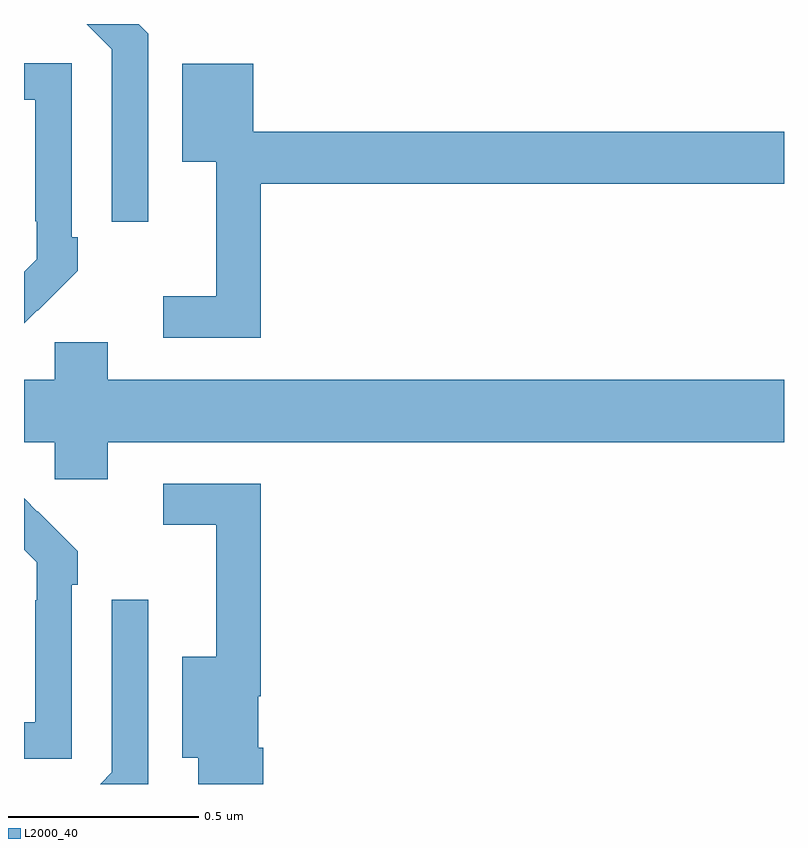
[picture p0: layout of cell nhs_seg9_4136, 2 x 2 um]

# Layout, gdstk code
import gdstk
lib = gdstk.Library(unit=1e-6, precision=1e-09)
def P(c, l, *ps):  # polygons
    for p in ps: c.add(gdstk.Polygon(p, *l))
L2000_40 = (2000, 40)

nhs_seg9_4136 = lib.new_cell('nhs_seg9_4136')
P(nhs_seg9_4136, L2000_40, [(162.327,1217.475),(162.302,1217.5),(162,1217.5),(162,1217.499),(162.165,1217.499),(162.231,1217.433),(162.231,1216.98),(162.327,1216.98)],
  [(162.035,1216.747),(162.036,1216.746),(162.141,1216.851),(162.141,1216.939),(162.126,1216.939),(162.126,1217.397),(162,1217.397),(162,1217.301),(162.03,1217.301),(162.03,1216.981),(162.033,1216.981),(162.033,1216.881),(162,1216.848),(162,1216.712)],
  [(162.623,1217.08),(164,1217.08),(164,1217.216),(162.603,1217.216),(162.603,1217.395),(162.416,1217.395),(162.416,1217.138),(162.506,1217.138),(162.506,1216.783),(162.366,1216.783),(162.366,1216.674),(162.623,1216.674)],
  [(162.22,1216.4),(164,1216.4),(164,1216.564),(162.22,1216.564),(162.22,1216.662),(162.081,1216.662),(162.081,1216.564),(162,1216.564),(162,1216.4),(162.081,1216.4),(162.081,1216.302),(162.22,1216.302)],
  [(162.629,1215.595),(162.616,1215.595),(162.616,1215.731),(162.623,1215.731),(162.623,1216.29),(162.366,1216.29),(162.366,1216.182),(162.506,1216.182),(162.506,1215.835),(162.416,1215.835),(162.416,1215.569),(162.458,1215.569),(162.458,1215.5),(162.629,1215.5)],
  [(162.126,1216.025),(162.141,1216.025),(162.141,1216.113),(162.036,1216.218),(162.035,1216.217),(162,1216.252),(162,1216.116),(162.033,1216.083),(162.033,1215.983),(162.03,1215.983),(162.03,1215.663),(162,1215.663),(162,1215.567),(162.126,1215.567)],
  [(162.327,1215.985),(162.231,1215.985),(162.231,1215.531),(162.2,1215.5),(162.327,1215.5)])

lib.write_gds('nhs_seg9_4136.gds')
